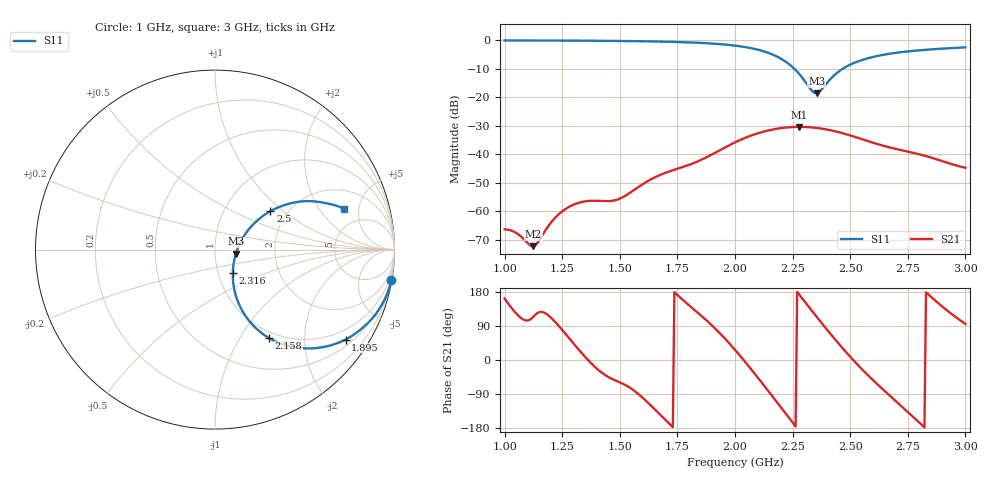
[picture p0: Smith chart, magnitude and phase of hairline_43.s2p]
! TOUCHSTONE file generated by CST MICROWAVE STUDIO
! Date and time: Tue Mar 18 20:31:55 2025
! Project name: hairline.cst
! Parameters = {B=12.5; D=160; F=25; Feed=2.85625; Fracture=0.5; L=100; M=30; R=0.384908; S=1.5; Theta=270; length=57.125; wave=114.25}
! Header version: 2024
! Port assignment regex: !\s*Touchstone port\s*([0-9]+)\s*=\s*(CST MWS port|CST DES external port|CST DES block port)\s*(.+)\s* \(\"(.*)\"\)(\s*mode\s*([0-9]+))?.*
! Touchstone port assignment:
! Touchstone port 1 = CST MWS port 1 ("")
! Touchstone port 2 = CST MWS port 2 ("")
# GHz S DB R 50
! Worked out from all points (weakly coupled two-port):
!   305 points, 1 GHz to 3 GHz, reference 50 ohm
!   highest |S21| = -30.38 dB at 2.276 GHz (marker M1); lowest = -72.3 dB at 1.125 GHz (marker M2)
!   lowest |S11| = -18.5 dB at 2.355 GHz (marker M3), VSWR 1.27, Z = 63 - j2.99 ohm
!   |S11| at or under -10 dB: 2.258 GHz to 2.467 GHz (208.8 MHz wide, 8.84 % of centre)
!   S12 and S22 are empty: the file has one direction only
!   S11 on the Smith chart (normalised r, x): 1 GHz: 0, -12; 1.895 GHz: 0.67, -3.08; 2.158 GHz: 0.91, -1.34; 2.316 GHz: 1.18, -0.31; 2.5 GHz: 1.64, +0.82; 3 GHz: 3.31, +3.48
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1  -0.02 -9.8  -66.34 162.1  -200.00 0.0  -200.00 0.0
1.04605  -0.02 -10.4  -67.43 125.6  -200.00 0.0  -200.00 0.0
1.125  -0.03 -11.5  -72.28 114.3  -200.00 0.0  -200.00 0.0
1.13816  -0.04 -11.7  -71.57 122.1  -200.00 0.0  -200.00 0.0
1.19737  -0.05 -12.7  -64.37 113.9  -200.00 0.0  -200.00 0.0
1.23684  -0.06 -13.4  -60.91 88.7  -200.00 0.0  -200.00 0.0
1.28289  -0.08 -14.2  -58.33 55.4  -200.00 0.0  -200.00 0.0
1.33553  -0.10 -15.2  -56.75 17.7  -200.00 0.0  -200.00 0.0
1.49342  -0.20 -18.7  -55.80 -57.3  -200.00 0.0  -200.00 0.0
1.67105  -0.41 -24.1  -47.39 -141.9  -200.00 0.0  -200.00 0.0
1.89474  -1.08 -34.5  -40.27 94.2  -200.00 0.0  -200.00 0.0
2  -1.84 -42.2  -35.81 26.8  -200.00 0.0  -200.00 0.0
2.15789  -4.79 -58.6  -31.39 -92.2  -200.00 0.0  -200.00 0.0
2.22368  -7.68 -65.2  -30.59 -144.1  -200.00 0.0  -200.00 0.0
2.27632  -11.55 -65.1  -30.38 174.5  -200.00 0.0  -200.00 0.0
2.31579  -15.77 -52.5  -30.47 143.6  -200.00 0.0  -200.00 0.0
2.33553  -17.83 -35.7  -30.59 128.4  -200.00 0.0  -200.00 0.0
2.35526  -18.54 -11.4  -30.76 113.2  -200.00 0.0  -200.00 0.0
2.43421  -11.99 33.3  -31.92 54.4  -200.00 0.0  -200.00 0.0
2.5  -8.51 34.7  -33.38 8.5  -200.00 0.0  -200.00 0.0
2.67105  -4.68 27.6  -37.59 -93.7  -200.00 0.0  -200.00 0.0
3  -2.45 17.5  -44.72 95.1  -200.00 0.0  -200.00 0.0
